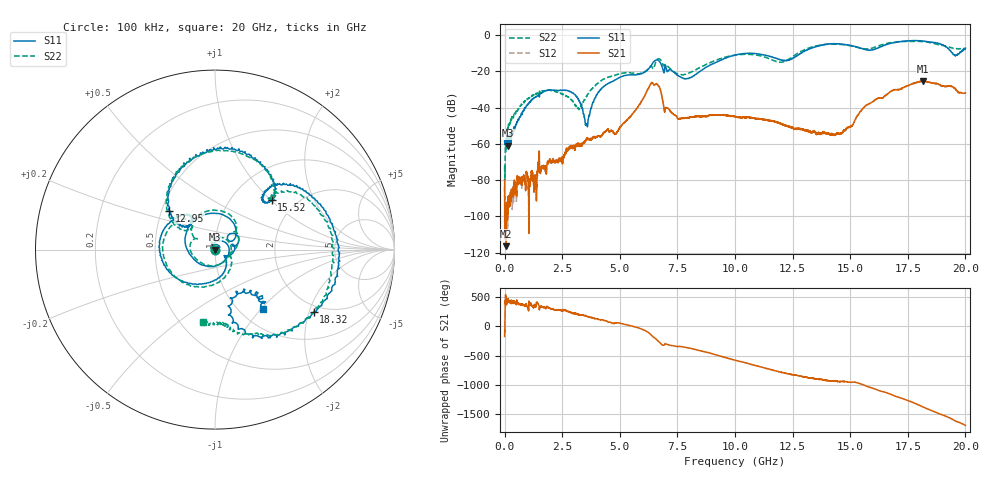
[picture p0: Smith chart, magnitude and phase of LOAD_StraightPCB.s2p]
#  HZ  S  RI  R  50.00
! Rohde & Schwarz Vector Network Analyzer
! Rohde-Schwarz,ZNB20-2Port,1311601062101763,2.70
! Created: UTC 3/9/2022, 3:35:21 PM
! freq[Hz]  re:S11  im:S11  re:S21  im:S21  re:S12  im:S12  re:S22  im:S22
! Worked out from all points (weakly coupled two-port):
!   5000 points, 100 kHz to 20 GHz, reference 50 ohm
!   highest |S21| = -25.39 dB at 18.16 GHz (marker M1); lowest = -116.4 dB at 60.11 MHz (marker M2)
!   lowest |S11| = -61.0 dB at 148.1 MHz (marker M3), VSWR 1.00, Z = 49.9 - j0.0514 ohm
!   |S11| at or under -10 dB: start of sweep to 12.87 GHz; 19.44 GHz to 19.75 GHz (307.8 MHz wide, 1.57 % of centre)
!   |S22| runs from -79.8 to -3.5 dB; largest |S21 - S12| = 0.0027
!   S11 on the Smith chart (normalised r, x): 100 kHz: 1.00, +0.00; 12.95 GHz: 0.55, +0.27; 15.52 GHz: 1.52, +1.01; 18.32 GHz: 1.78, -2.15; 20 GHz: 1.28, -1.05
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100000  -0.00114 0.00024  -9.98e-05 -1.51e-05  -6.34e-05 1.28e-05  0.000167 -6.12e-05
6.01117e7  -0.00093 -0.000539  -6.52e-07 1.38e-06  1.19e-05 8.73e-07  9.92e-05 -0.000734
1.481289e8  -0.000732 -0.000515  -3.34e-06 2.14e-05  -6.75e-07 1.94e-05  -2.79e-05 -0.00235
7.28242e8  -0.00677 0.00126  8.55e-05 1.33e-05  9.16e-05 3.42e-06  -0.011 -0.00566
1.728437e9  -0.00242 0.0279  0.000169 -0.000138  0.000143 -0.000138  -0.0147 0.0245
2.804647e9  0.0259 0.0116  -0.000233 -0.000716  -0.00023 -0.00073  0.0113 0.0146
3.336751e9  0.011 0.00131  -0.000913 -0.00023  -0.000953 -0.000209  -0.00396 0.0105
3.580798e9  -0.000383 0.00329  -0.00136 0.000165  -0.0014 0.000191  -0.0135 0.0171
4.296938e9  -0.00375 0.038  -0.000529 0.00195  -0.000544 0.00188  -0.00675 0.0602
6.669401e9  0.0377 0.1968  -0.0118 0.0379  -0.012 0.0388  -0.0217 0.2197
6.961457e9  0.1078 0.0911  0.00339 0.00733  0.00362 0.00729  0.1206 0.0944
7.569576e9  0.0642 -0.0342  0.00469 0.00153  0.00467 0.00163  0.08 -0.0178
1.000205e10  -0.2396 -0.14  -0.00441 0.00341  -0.00446 0.00349  -0.2454 -0.1223
1.294662e10  -0.2564 0.2176  -0.00185 -0.00163  -0.00185 -0.00151  -0.2717 0.2543
1.33347e10  -0.246 0.3624  -0.00193 -0.000415  -0.00199 -0.000525  -0.2316 0.4006
1.457494e10  0.1992 0.5247  -0.00132 0.00131  -0.00137 0.00133  0.2281 0.4965
1.551513e10  0.316 0.2742  0.000197 0.00889  0.000108 0.00884  0.3153 0.2747
1.666735e10  0.4363 0.3594  0.00987 -0.0231  0.01 -0.0225  0.5277 0.2716
1.815964e10  0.6137 -0.2802  0.0243 0.0479  0.0232 0.0461  0.542 -0.3552
1.831967e10  0.5504 -0.3486  0.0421 0.0292  0.0409 0.0291  0.4818 -0.4094
1.933187e10  0.0737 -0.3631  -0.0233 -0.0303  -0.0241 -0.031  0.0809 -0.4434
2e10  0.2743 -0.3335  -0.00687 0.0244  -0.00719 0.0241  -0.0666 -0.4039
